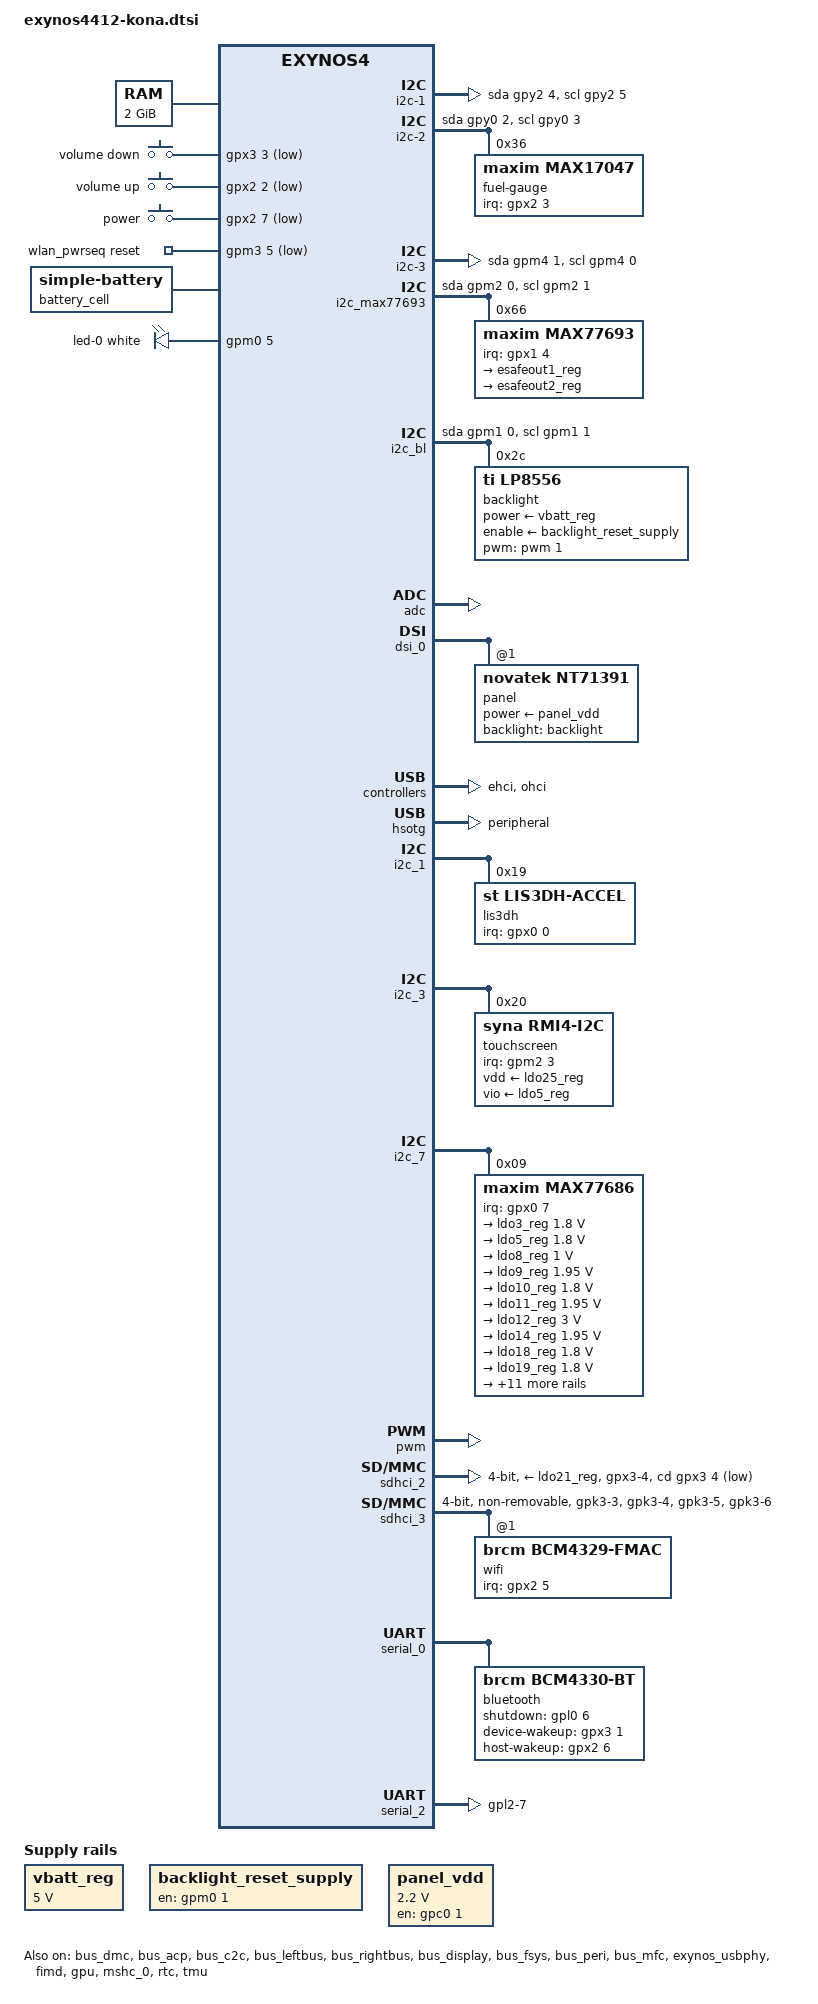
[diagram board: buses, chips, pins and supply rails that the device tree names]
// SPDX-License-Identifier: GPL-2.0
/*
 * Samsung's Exynos4412 based kona device family base DT.
 * Based on exynos4412-midas.dtsi.
 *
 * Copyright (c) 2013 Samsung Electronics Co., Ltd.
 *		http://www.samsung.com
 */

/dts-v1/;
#include "exynos4412.dtsi"
#include "exynos4412-ppmu-common.dtsi"
#include "exynos-pinctrl.h"
#include <dt-bindings/clock/maxim,max77686.h>
#include <dt-bindings/gpio/gpio.h>
#include <dt-bindings/input/linux-event-codes.h>
#include <dt-bindings/interrupt-controller/irq.h>
#include <dt-bindings/leds/common.h>

/ {
	compatible = "samsung,kona", "samsung,exynos4412", "samsung,exynos4";

	memory@40000000 {
		device_type = "memory";
		reg = <0x40000000 0x80000000>;
	};

	aliases {
		mmc0 = &mshc_0;
		mmc2 = &sdhci_2;
		mmc3 = &sdhci_3;
	};

	chosen {
		stdout-path = &serial_2;
	};

	firmware@204f000 {
		compatible = "samsung,secure-firmware";
		reg = <0x0204f000 0x1000>;
	};

	fixed-rate-clocks {
		xxti {
			compatible = "samsung,clock-xxti";
			clock-frequency = <0>;
		};

		xusbxti {
			compatible = "samsung,clock-xusbxti";
			clock-frequency = <24000000>;
		};
	};

	buttons: gpio-keys {
		compatible = "gpio-keys";
		pinctrl-names = "default";
		pinctrl-0 = <&gpio_keys>;

		key-down {
			gpios = <&gpx3 3 GPIO_ACTIVE_LOW>;
			linux,code = <KEY_VOLUMEDOWN>;
			label = "volume down";
			debounce-interval = <10>;
		};

		key-up {
			gpios = <&gpx2 2 GPIO_ACTIVE_LOW>;
			linux,code = <KEY_VOLUMEUP>;
			label = "volume up";
			debounce-interval = <10>;
		};

		key-power {
			gpios = <&gpx2 7 GPIO_ACTIVE_LOW>;
			linux,code = <KEY_POWER>;
			label = "power";
			debounce-interval = <10>;
			wakeup-source;
		};
	};

	vbatt_reg: voltage-regulator-1 {
		compatible = "regulator-fixed";
		regulator-name = "VBATT";
		regulator-min-microvolt = <5000000>;
		regulator-max-microvolt = <5000000>;
		regulator-always-on;
	};

	backlight_reset_supply: voltage-regulator-2 {
		compatible = "regulator-fixed";
		regulator-name = "BACKLIGHT_ENVDDIO";
		pinctrl-names = "default";
		pinctrl-0 = <&led_bl_reset>;
		gpio = <&gpm0 1 GPIO_ACTIVE_HIGH>;
		enable-active-high;
	};
	
	panel_vdd: voltage-regulator-4 {
		compatible = "regulator-fixed";
		regulator-name = "LCD_ENABLE";
		regulator-min-microvolt = <2200000>;
		regulator-max-microvolt = <2200000>;
		pinctrl-names = "default";
		pinctrl-0 = <&lcd_enable>;
		gpios = <&gpc0 1 GPIO_ACTIVE_HIGH>; /* GPIO_LCD_EN */
		enable-active-high;
	};

	wlan_pwrseq: sdhci3-pwrseq {
		compatible = "mmc-pwrseq-simple";
		reset-gpios = <&gpm3 5 GPIO_ACTIVE_LOW>;
		pinctrl-0 = <&wifi_reset>;
		pinctrl-names = "default";
		clocks = <&max77686 MAX77686_CLK_PMIC>;
		clock-names = "ext_clock";
	};

	battery_cell: battery-cell {
		compatible = "simple-battery";
		device-chemistry = "lithium-ion";
		constant-charge-current-max-microamp = <1798200>;
		precharge-current-microamp = <250000>;
		charge-term-current-microamp = <250000>;
		constant-charge-voltage-max-microvolt = <4200000>;
	};

	i2c-1 {
		compatible = "i2c-gpio";
		sda-gpios = <&gpy2 4 (GPIO_ACTIVE_HIGH | GPIO_OPEN_DRAIN)>;
		scl-gpios = <&gpy2 5 (GPIO_ACTIVE_HIGH | GPIO_OPEN_DRAIN)>;
		i2c-gpio,delay-us = <2>;
		#address-cells = <1>;
		#size-cells = <0>;
	};

	i2c-2 {
		compatible = "i2c-gpio";
		sda-gpios = <&gpy0 2 (GPIO_ACTIVE_HIGH | GPIO_OPEN_DRAIN)>;
		scl-gpios = <&gpy0 3 (GPIO_ACTIVE_HIGH | GPIO_OPEN_DRAIN)>;
		i2c-gpio,delay-us = <2>;
		#address-cells = <1>;
		#size-cells = <0>;

		fuel-gauge@36 {
			compatible = "maxim,max17047";
			reg = <0x36>;
			pinctrl-0 = <&fuel_alert_irq>;
			pinctrl-names = "default";
			interrupt-parent = <&gpx2>;
			interrupts = <3 IRQ_TYPE_LEVEL_LOW>;
			maxim,rsns-microohm = <10000>;
			maxim,over-heat-temp = <600>;
			maxim,over-volt = <4300>;
			power-supplies = <&max77693_charger>;
		};
	};

	i2c-3 {
		compatible = "i2c-gpio";
		sda-gpios = <&gpm4 1 (GPIO_ACTIVE_HIGH | GPIO_OPEN_DRAIN)>;
		scl-gpios = <&gpm4 0 (GPIO_ACTIVE_HIGH | GPIO_OPEN_DRAIN)>;
		i2c-gpio,delay-us = <5>;
		#address-cells = <1>;
		#size-cells = <0>;
	};

	i2c_max77693: i2c-4 {
		compatible = "i2c-gpio";
		sda-gpios = <&gpm2 0 (GPIO_ACTIVE_HIGH | GPIO_OPEN_DRAIN)>;
		scl-gpios = <&gpm2 1 (GPIO_ACTIVE_HIGH | GPIO_OPEN_DRAIN)>;

		i2c-gpio,delay-us = <2>;
		#address-cells = <1>;
		#size-cells = <0>;

		max77693: mfd@66 {
			compatible = "maxim,max77693";
			reg = <0x66>;
			interrupt-parent = <&gpx1>;
			interrupts = <4 IRQ_TYPE_LEVEL_LOW>;
			pinctrl-names = "default";
			pinctrl-0 = <&max77693_irq>;

			muic {
				compatible = "maxim,max77693-muic";

				usb_conn: connector {
					compatible = "samsung,usb-connector-11pin",
						     "usb-b-connector";
					label = "micro-USB";
					type = "micro";

					ports {
						#address-cells = <1>;
						#size-cells = <0>;

						port@0 {
							reg = <0>;
						};

						port@3 {
							reg = <3>;
						};
					};
				};
			};

			regulators {
				esafeout1_reg: ESAFEOUT1 {
					regulator-name = "ESAFEOUT1";
				};

				esafeout2_reg: ESAFEOUT2 {
					regulator-name = "ESAFEOUT2";
				};
			};

			motor-driver {
				compatible = "maxim,max77693-haptic";
				haptic-supply = <&ldo23_reg>;
				pwms = <&pwm 0 37904 0>;
			};

			max77693_charger: charger {
				compatible = "maxim,max77693-charger";
				monitored-battery = <&battery_cell>;

				maxim,constant-microvolt = <4350000>;
				maxim,min-system-microvolt = <3600000>;
				maxim,thermal-regulation-celsius = <70>;
				maxim,battery-overcurrent-microamp = <3500000>;
				maxim,charge-input-threshold-microvolt = <4300000>;

				maxim,usb-connector = <&usb_conn>;
			};
			
			led {
                		compatible = "maxim,max77693-led";
                		status = "disabled";
                	};
		};
	};

	i2c_bl: i2c-24 {
		compatible = "i2c-gpio";
		sda-gpios = <&gpm1 0 (GPIO_ACTIVE_HIGH | GPIO_OPEN_DRAIN)>;
		scl-gpios = <&gpm1 1 (GPIO_ACTIVE_HIGH | GPIO_OPEN_DRAIN)>;
		#address-cells = <1>;
		#size-cells = <0>;
		status = "okay";

		backlight: backlight@2c {
			compatible = "ti,lp8556";
			reg = <0x2c>;
			status = "okay";

			bl-name = "lcd-bl";
			init-brt = /bits/ 8 <0x78>; /* 120 */

			power-supply = <&vbatt_reg>;
			enable-supply = <&backlight_reset_supply>;

			pwms = <&pwm 1 78770 0>;
			pwm-names = "lp8556";
			pwm-period = <78770>;

			dev-ctrl = /bits/ 8 <0x81>;

			rom-a5h {
				rom-addr = /bits/ 8 <0xa5>;
				rom-val = /bits/ 8 <0x24>;
			};

		};
	};

	led-controller {
		compatible = "gpio-leds";
		led-0 {
			gpios = <&gpm0 5 GPIO_ACTIVE_HIGH>;
			default-state = "off";
			function = LED_FUNCTION_KBD_BACKLIGHT;
			color = <LED_COLOR_ID_WHITE>;
		};
	};
};

&adc {
	vdd-supply = <&ldo3_reg>;
	/* not verified */
	status = "okay";
};

&bus_dmc {
	devfreq-events = <&ppmu_dmc0_3>, <&ppmu_dmc1_3>;
	vdd-supply = <&buck1_reg>;
	status = "okay";
};

&bus_acp {
	devfreq = <&bus_dmc>;
	status = "okay";
};

&bus_c2c {
	devfreq = <&bus_dmc>;
	status = "okay";
};

&bus_leftbus {
	devfreq-events = <&ppmu_leftbus_3>, <&ppmu_rightbus_3>;
	vdd-supply = <&buck3_reg>;
	status = "okay";
};

&bus_rightbus {
	devfreq = <&bus_leftbus>;
	status = "okay";
};

&bus_display {
	devfreq = <&bus_leftbus>;
	status = "okay";
};

&bus_fsys {
	devfreq = <&bus_leftbus>;
	status = "okay";
};

&bus_peri {
	devfreq = <&bus_leftbus>;
	status = "okay";
};

&bus_mfc {
	devfreq = <&bus_leftbus>;
	status = "okay";
};

&cpu0 {
	cpu0-supply = <&buck2_reg>;
};

&cpu_thermal {
	cooling-maps {
		map0 {
			/* Corresponds to 800MHz at freq_table */
			cooling-device = <&cpu0 7 7>, <&cpu1 7 7>,
					 <&cpu2 7 7>, <&cpu3 7 7>;
		};
		map1 {
			/* Corresponds to 200MHz at freq_table */
			cooling-device = <&cpu0 13 13>, <&cpu1 13 13>,
					 <&cpu2 13 13>, <&cpu3 13 13>;
		};
	};
};

&dsi_0 {
	vddcore-supply = <&ldo8_reg>;
	vddio-supply = <&ldo10_reg>;
	samsung,burst-clock-frequency = <460000000>;
	samsung,esc-clock-frequency = <20000000>;
	samsung,pll-clock-frequency = <24000000>;
	status = "okay";

	panel@1 {
		compatible = "novatek,nt71391";
		reg = <1>;
		power-supply = <&panel_vdd>;
		backlight = <&backlight>;
	};
};

&ehci {
	status = "okay";
};

&exynos_usbphy {
	vbus-supply = <&esafeout1_reg>;
	samsung,usb-connector = <&usb_conn>;
	status = "okay";
};

&fimd {
	status = "okay";
};

&gpu {
	mali-supply = <&buck4_reg>;
	status = "okay";
};

&hsotg {
	vusb_a-supply = <&ldo12_reg>;
	dr_mode = "peripheral";
	status = "okay";
};

&i2c_1 {
	samsung,i2c-sda-delay = <100>;
	samsung,i2c-slave-addr = <0x10>;
	samsung,i2c-max-bus-freq = <400000>;
	status = "okay";

	lis3dh: accelerometer@19 {
		compatible = "st,lis3dh-accel";
		reg = <0x19>;
		interrupt-parent = <&gpx0>;
		interrupts = <0 IRQ_TYPE_EDGE_RISING>;
		pinctrl-0 = <&accelerometer_irq>;
		pinctrl-names = "default";
		mount-matrix =	"-1", "0",  "0",
				 "0", "1",  "0",
				 "0", "0", "-1";
	};
};

&i2c_3 {
	samsung,i2c-sda-delay = <100>;
	samsung,i2c-slave-addr = <0x10>;
	samsung,i2c-max-bus-freq = <400000>;
	status = "okay";

	touchscreen@20 {
		compatible = "syna,rmi4-i2c"; //S7301
		reg = <0x20>;
		#address-cells = < 1 >;
		#size-cells = < 0 >;
		
		pinctrl-0 = <&tsp_rst &tsp_irq>;
		pinctrl-names = "default";
		interrupt-parent = <&gpm2>; // tsp_irq
		interrupts = <3 IRQ_TYPE_EDGE_FALLING>;
		
		vdd-supply = <&ldo25_reg>;
		vio-supply = <&ldo5_reg>;

		syna,startup-delay-ms = <100>;

		rmi4-f01@1 {
			reg = <0x1>;
			syna,nosleep-mode = <1>;
		};

		rmi4-f11@11 {
			reg = <0x11>;
			syna,sensor-type = <1>;
			touchscreen-swapped-x-y;
			touchscreen-inverted-x;
		};

		rmi4-f1a@1a {
			reg = <0x1a>;
			
			key-back {
				label = "Back";
				linux,code = <KEY_BACK>;
			};
			key-menu {
				label = "Menu";
				linux,code = <KEY_MENU>;
			};

		};
	};
};

&i2c_7 {
	samsung,i2c-sda-delay = <100>;
	samsung,i2c-slave-addr = <0x10>;
	samsung,i2c-max-bus-freq = <400000>;
	status = "okay";

	max77686: pmic@9 {
		compatible = "maxim,max77686";
		interrupt-parent = <&gpx0>;
		interrupts = <7 IRQ_TYPE_LEVEL_LOW>;
		pinctrl-0 = <&max77686_irq>;
		pinctrl-names = "default";
		wakeup-source;
		reg = <0x09>;
		#clock-cells = <1>;

		voltage-regulators {
			/* WM8994 audio */
			ldo3_reg: LDO3 {
				regulator-name = "VCC_1.8V_AP";
				regulator-min-microvolt = <1800000>;
				regulator-max-microvolt = <1800000>;
				regulator-always-on;
				regulator-boot-on;

				regulator-state-mem {
					regulator-on-in-suspend;
				};
			};

			/* Touchkey */
			ldo5_reg: LDO5 {
				regulator-name = "VCC_1.8V_IO";
				regulator-min-microvolt = <1800000>;
				regulator-max-microvolt = <1800000>;

				regulator-state-mem {
					regulator-off-in-suspend;
				};
			};

			/* CSI IP block */
			ldo8_reg: LDO8 {
				regulator-name = "VMIPI_1.0V";
				regulator-min-microvolt = <1000000>;
				regulator-max-microvolt = <1000000>;
				regulator-always-on;
				regulator-boot-on;

				regulator-state-mem {
					regulator-on-in-suspend;
				};
			};

			/* IR LED on/off */
			ldo9_reg: LDO9 {
				regulator-name = "VLED_IC_1.9V";
				regulator-min-microvolt = <1950000>;
				regulator-max-microvolt = <1950000>;
				regulator-always-on;
				regulator-boot-on;

				regulator-state-mem {
					regulator-off-in-suspend;
				};
			};

			/* CSI IP block */
			ldo10_reg: LDO10 {
				regulator-name = "VMIPI_1.8V";
				regulator-min-microvolt = <1800000>;
				regulator-max-microvolt = <1800000>;
				regulator-always-on;
				regulator-boot-on;

				regulator-state-mem {
					regulator-on-in-suspend;
				};
			};

			ldo11_reg: LDO11 {
				regulator-name = "VABB1_1.9V";
				regulator-min-microvolt = <1950000>;
				regulator-max-microvolt = <1950000>;
				regulator-always-on;
				regulator-boot-on;

				regulator-state-mem {
					regulator-off-in-suspend;
				};
			};

			/* USB OTG */
			ldo12_reg: LDO12 {
				regulator-name = "VUOTG_3.0V";
				regulator-min-microvolt = <3000000>;
				regulator-max-microvolt = <3000000>;
				regulator-always-on;
				regulator-boot-on;

				regulator-state-mem {
					regulator-on-in-suspend;
				};
			};

			ldo14_reg: LDO14 {
				regulator-name = "VABB2_1.9V";
				regulator-min-microvolt = <1950000>;
				regulator-max-microvolt = <1950000>;
				regulator-always-on;
				regulator-boot-on;

				regulator-state-mem {
					regulator-off-in-suspend;
				};
			};

			ldo18_reg: LDO18 {
				regulator-name = "CAM_IO_1.8V";
				regulator-min-microvolt = <1800000>;
				regulator-max-microvolt = <1800000>;

				regulator-state-mem {
					regulator-off-in-suspend;
				};
			};

			ldo19_reg: LDO19 {
				regulator-name = "VT_CORE_1.8V";
				regulator-min-microvolt = <1800000>;
				regulator-max-microvolt = <1800000>;

				regulator-state-mem {
					regulator-off-in-suspend;
				};
			};

			ldo21_reg: LDO21 {
				regulator-name = "VTF_2.8V";
				regulator-min-microvolt = <2800000>;
				regulator-max-microvolt = <2800000>;
				maxim,ena-gpios = <&gpy2 0 GPIO_ACTIVE_HIGH>;
			};

			ldo23_reg: LDO23 {
				regulator-name = "VCC_MOTOR_3.0V";
				regulator-min-microvolt = <3000000>;
				regulator-max-microvolt = <3000000>;

				regulator-state-mem {
					regulator-off-in-suspend;
				};
			};

			ldo24_reg: LDO24 {
				regulator-name = "CAM_A2.8V";
				regulator-min-microvolt = <2800000>;
				regulator-max-microvolt = <2800000>;

				regulator-state-mem {
					regulator-off-in-suspend;
				};
			};

			ldo25_reg: LDO25 {
				regulator-name = "TSP_3.3V";
				regulator-min-microvolt = <3300000>;
				regulator-max-microvolt = <3300000>;

				regulator-state-mem {
					regulator-off-in-suspend;
				};
			};

			ldo26_reg: LDO26 {
				regulator-name = "3MP_AF_2.8V";
				regulator-min-microvolt = <2800000>;
				regulator-max-microvolt = <2800000>;

				regulator-state-mem {
					regulator-off-in-suspend;
				};
			};

			buck1_reg: BUCK1 {
				regulator-name = "VDD_MIF";
				regulator-min-microvolt = <850000>;
				regulator-max-microvolt = <1200000>;
				regulator-always-on;
				regulator-boot-on;
			};

			buck2_reg: BUCK2 {
				regulator-name = "VDD_ARM";
				regulator-min-microvolt = <850000>;
				regulator-max-microvolt = <1500000>;
				regulator-always-on;
				regulator-boot-on;
			};

			buck3_reg: BUCK3 {
				regulator-name = "VDD_INT";
				regulator-min-microvolt = <850000>;
				regulator-max-microvolt = <1300000>;
				regulator-always-on;
				regulator-boot-on;
			};

			buck4_reg: BUCK4 {
				regulator-name = "VDD_G3D";
				regulator-min-microvolt = <850000>;
				regulator-max-microvolt = <1200000>;
				regulator-boot-on;
			};

			buck9_reg: BUCK9 { 
				regulator-name = "3MP_CORE_1.2V";
				regulator-min-microvolt = <1200000>;
				regulator-max-microvolt = <1400000>;

				regulator-state-mem {
					regulator-off-in-suspend;
				};
			};

			32KHZ_PMIC {
				regulator-name = "32KHZ_PMIC";
				regulator-always-on;

				regulator-state-mem {
					regulator-on-in-suspend;
				};
			};
		};
	};
};

&mshc_0 {
	broken-cd;
	non-removable;
	card-detect-delay = <200>;
	clock-frequency = <400000000>;
	samsung,dw-mshc-ciu-div = <0>;
	samsung,dw-mshc-sdr-timing = <2 3>;
	samsung,dw-mshc-ddr-timing = <1 2>;
	mmc-ddr-1_8v;
	pinctrl-0 = <&sd4_clk &sd4_cmd &sd4_bus4 &sd4_bus8>;
	pinctrl-names = "default";
	bus-width = <4>;
	cap-mmc-highspeed;
	cap-sd-highspeed;
	status = "okay";
};

&ohci {
	status = "okay";
};

&pinctrl_0 {
	pinctrl-names = "default";
	pinctrl-0 = <&sleep0>;

	// lcd_freq are not configured in board config
	lcd_freq_scl: lcd-scl-pins {
		samsung,pins = "gpf0-4";
		samsung,pin-pud = <EXYNOS_PIN_PULL_DOWN>;
	};
	lcd_freq_sda: lcd-sda-pins {
		samsung,pins = "gpf0-5";
		samsung,pin-pud = <EXYNOS_PIN_PULL_DOWN>;
	};
	lcd_enable: lcd-enable-pins {
		samsung,pins = "gpc0-1";
		samsung,pin-function = <EXYNOS_PIN_FUNC_OUTPUT>;
		samsung,pin-pud = <EXYNOS_PIN_PULL_NONE>;
	};

	sleep0: sleep-state {
		PIN_SLP(gpa0-0, INPUT, NONE); /* BT_UART_RXD */
		PIN_SLP(gpa0-1, OUT0, NONE); /* BT_UART_TXD */
		PIN_SLP(gpa0-2, INPUT, NONE); /* BT_UART_CTS */
		PIN_SLP(gpa0-3, INPUT, UP); /* BT_UART_RTS */
		PIN_SLP(gpa0-4, INPUT, UP); /* GPS_UART_RXD */
		PIN_SLP(gpa0-5, INPUT, UP); /* GPS_UART_TXD */
		PIN_SLP(gpa0-6, INPUT, DOWN); /* GPS_UART_CTS */
		PIN_SLP(gpa0-7, INPUT, DOWN); /* GPS_UART_RTS */

		PIN_SLP(gpa1-0, INPUT, DOWN); /* 3G : AP_RXD LTE : NC */
		PIN_SLP(gpa1-1, INPUT, DOWN); /* 3G : AP_TXD LTE : NC */
		PIN_SLP(gpa1-2, INPUT, DOWN); /* TSP_SDA_1.8V */
		PIN_SLP(gpa1-3, INPUT, DOWN); /* TSP_SCL_1.8V */
		PIN_SLP(gpa1-4, INPUT, DOWN); /* NC */
		PIN_SLP(gpa1-5, INPUT, DOWN); /* NC */

		PIN_SLP(gpb-0, INPUT, NONE);
		PIN_SLP(gpb-1, INPUT, NONE);
		PIN_SLP(gpb-2, INPUT, NONE);
		PIN_SLP(gpb-3, INPUT, NONE);
		PIN_SLP(gpb-4, INPUT, DOWN); /* NC */
		PIN_SLP(gpb-5, INPUT, DOWN); /* NC */
		PIN_SLP(gpb-6, INPUT, DOWN); /* NC */
		PIN_SLP(gpb-7, INPUT, DOWN); /* NC */

		PIN_SLP(gpc0-0, INPUT, DOWN); /* REC_PCM_CLK-NC */
		PIN_SLP(gpc0-1, INPUT, DOWN); /* LCD_EN */
		PIN_SLP(gpc0-2, INPUT, DOWN); /* REC_PCM_SYNC-NC */
		PIN_SLP(gpc0-3, INPUT, DOWN); /* REC_PCM_IN-NC */
		PIN_SLP(gpc0-4, INPUT, DOWN); /* REC_PCM_OUT-NC */

		PIN_SLP(gpc1-0, INPUT, UP); /* PEN_PDCT */
		PIN_SLP(gpc1-1, PREV, NONE); /* PEN_LDO_EN */
		PIN_SLP(gpc1-2, INPUT, UP); /* PEN_IRQ_1.8V */
		PIN_SLP(gpc1-3, INPUT, UP); /* PEN_SDA_1.8V */
		PIN_SLP(gpc1-4, INPUT, UP); /* PEN_SCL_1.8V */

		PIN_SLP(gpd0-0, INPUT, DOWN); /* NC */
		PIN_SLP(gpd0-1, OUT0, NONE); /* LED_BACKLIGHT_PWM */
		PIN_SLP(gpd0-2, INPUT, NONE);
		PIN_SLP(gpd0-3, INPUT, NONE);

		PIN_SLP(gpd1-0, INPUT, DOWN); /* 3M_SDA_1.8V */
		PIN_SLP(gpd1-1, INPUT, DOWN); /* 3M_SCL_1.8V */
		PIN_SLP(gpd1-2, INPUT, NONE);
		PIN_SLP(gpd1-3, INPUT, NONE);

		PIN_SLP(gpf0-0, INPUT, DOWN); /* LCD_HSYNC */
		PIN_SLP(gpf0-1, INPUT, DOWN); /* LCD_VSYNC */
		PIN_SLP(gpf0-2, INPUT, DOWN); /* LCD_DE */
		PIN_SLP(gpf0-3, INPUT, DOWN); /* LCD_PCLK */
		PIN_SLP(gpf0-4, INPUT, DOWN); /* LCD_FREQ_SCL */
		PIN_SLP(gpf0-5, INPUT, DOWN); /* LCD_FREQ_SDA */
		PIN_SLP(gpf0-6, INPUT, DOWN); /* NC */
		PIN_SLP(gpf0-7, INPUT, DOWN); /* NC */

		PIN_SLP(gpf1-0, INPUT, DOWN); /* NC */
		PIN_SLP(gpf1-1, INPUT, DOWN); /* NC */
		PIN_SLP(gpf1-2, INPUT, DOWN); /* NC */
		PIN_SLP(gpf1-3, INPUT, DOWN); /* NC */
		PIN_SLP(gpf1-4, INPUT, DOWN); /* NC */
		PIN_SLP(gpf1-5, INPUT, DOWN); /* NC */
		PIN_SLP(gpf1-6, INPUT, NONE); /* TSP_VENDOR1 */
		PIN_SLP(gpf1-7, INPUT, NONE); /* TSP_VENDOR2 */

		PIN_SLP(gpf2-0, INPUT, DOWN); /* NC */
		PIN_SLP(gpf2-1, OUT0, NONE); /* VT_CAM_nSTBY */
		PIN_SLP(gpf2-2, INPUT, DOWN); /* NC */
		PIN_SLP(gpf2-3, INPUT, DOWN); /* NC */
		PIN_SLP(gpf2-4, INPUT, DOWN); /* NC */
		PIN_SLP(gpf2-5, INPUT, DOWN); /* NC */
		PIN_SLP(gpf2-6, INPUT, DOWN); /* NC */
		PIN_SLP(gpf2-7, INPUT, DOWN); /* NC */

		PIN_SLP(gpf3-0, INPUT, DOWN); /* NC */
		PIN_SLP(gpf3-1, INPUT, DOWN); /* NC */
		PIN_SLP(gpf3-2, PREV, NONE); /* BUCK3_SEL */
		PIN_SLP(gpf3-3, PREV, NONE); /* BUCK4_SEL */
		PIN_SLP(gpf3-4, OUT0, NONE); /* MHL_RST */
		PIN_SLP(gpf3-5, OUT0, NONE); /* MHL_INT */

		PIN_SLP(gpj0-0, INPUT, DOWN); /* CAM_PCLK */
		PIN_SLP(gpj0-1, INPUT, DOWN); /* NC */
		PIN_SLP(gpj0-2, INPUT, DOWN); /* NC */
		PIN_SLP(gpj0-3, PREV, NONE); /* SUB_MICBIAS_EN */
		PIN_SLP(gpj0-4, PREV, NONE); /* EAR_SND_SEL */
		PIN_SLP(gpj0-5, OUT0, NONE); /* CAM_EN2 */
		PIN_SLP(gpj0-6, OUT0, NONE); /* CAM_EN1 */
		PIN_SLP(gpj0-7, OUT0, NONE); /* 5M_nSTBY */

		PIN_SLP(gpj1-0, OUT0, NONE); /* VT_CAM_nRST */
		PIN_SLP(gpj1-1, PREV, NONE); /* PS_ALS_EN */
		PIN_SLP(gpj1-2, PREV, NONE); /* VPS_SOUND_EN */
		PIN_SLP(gpj1-3, INPUT, DOWN); /* CAM_MCLK */
		PIN_SLP(gpj1-4, INPUT, DOWN); /* MLH_WAKE_UP */

	};
};

&pinctrl_1 {
	pinctrl-names = "default";
	pinctrl-0 = <&sleep1>;

	sd3_wifi: sd3-wifi-pins {
		samsung,pins = "gpk3-3", "gpk3-4", "gpk3-5", "gpk3-6";
		samsung,pin-function = <EXYNOS_PIN_FUNC_2>;
		samsung,pin-pud = <EXYNOS_PIN_PULL_NONE>;
	};

	bt_shutdown: bt-shutdown-pins {
		samsung,pins = "gpl0-6";
		samsung,pin-function = <EXYNOS_PIN_FUNC_OUTPUT>;
		samsung,pin-pud = <EXYNOS_PIN_PULL_NONE>;
	};

	uart_sel: uart-sel-pins {
		samsung,pins = "gpl2-7";
		samsung,pin-function = <EXYNOS_PIN_FUNC_OUTPUT>;
		samsung,pin-pud = <EXYNOS_PIN_PULL_NONE>;
		samsung,pin-val = <1>;
		/* 0 = CP, 1 = AP (serial output) */
	};

	led_bl_reset: led-bl-reset-pins {
		samsung,pins = "gpm0-1";
		samsung,pin-function = <EXYNOS_PIN_FUNC_OUTPUT>;
		samsung,pin-pud = <EXYNOS_PIN_PULL_NONE>;
	};

	tsp_rst: tsp-rst-pins {
		samsung,pins = "gpm0-4";
		samsung,pin-function = <EXYNOS_PIN_FUNC_OUTPUT>;
		samsung,pin-pud = <EXYNOS_PIN_PULL_NONE>;
	};


	tsp_irq: tsp-irq-pins { // TSP_INT
		samsung,pins = "gpm2-3";
		samsung,pin-function = <EXYNOS_PIN_FUNC_F>;
		samsung,pin-pud = <EXYNOS_PIN_PULL_NONE>;
	};

	wifi_reset: wifi-reset-pins {
		samsung,pins = "gpm3-5";
		samsung,pin-function = <EXYNOS_PIN_FUNC_OUTPUT>;
		samsung,pin-pud = <EXYNOS_PIN_PULL_NONE>;
	};

	tsp_reg_gpio_1: tsp-reg-gpio-1-pins { // TSP_LDO_ON
		samsung,pins = "gpm4-5";
		samsung,pin-function = <EXYNOS_PIN_FUNC_OUTPUT>;
		samsung,pin-pud = <EXYNOS_PIN_PULL_NONE>;
	};

	accelerometer_irq: accelerometer-irq-pins {
		samsung,pins = "gpx0-0";
		samsung,pin-function = <EXYNOS_PIN_FUNC_INPUT>;
		samsung,pin-pud = <EXYNOS_PIN_PULL_DOWN>;
	};

	stmpe_adc_irq: stmpe-adc-irq-pins {
		samsung,pins = "gpx0-1";
		samsung,pin-function = <EXYNOS_PIN_FUNC_INPUT>;
		samsung,pin-pud = <EXYNOS_PIN_PULL_NONE>;
	};

	max77686_irq: max77686-irq-pins {
		samsung,pins = "gpx0-7";
		samsung,pin-pud = <EXYNOS_PIN_PULL_NONE>;
	};

	max77693_irq: max77693-irq-pins {
		samsung,pins = "gpx1-4";
		samsung,pin-pud = <EXYNOS_PIN_PULL_NONE>;
	};

	gpio_keys: gpio-keys-pins {
		samsung,pins = "gpx2-2", "gpx2-7", "gpx3-3";
		samsung,pin-pud = <EXYNOS_PIN_PULL_NONE>;
	};

	fuel_alert_irq: fuel-alert-irq-pins {
		samsung,pins = "gpx2-3";
		samsung,pin-function = <EXYNOS_PIN_FUNC_INPUT>;
		samsung,pin-pud = <EXYNOS_PIN_PULL_NONE>;
	};

	wifi_host_wake: wifi-host-wake-pins {
		samsung,pins = "gpx2-5";
		samsung,pin-function = <EXYNOS_PIN_FUNC_F>;
		samsung,pin-pud = <EXYNOS_PIN_PULL_DOWN>;
	};

	bt_host_wakeup: bt-host-wakeup-pins {
		samsung,pins = "gpx2-6";
		samsung,pin-function = <EXYNOS_PIN_FUNC_INPUT>;
		samsung,pin-pud = <EXYNOS_PIN_PULL_NONE>;
	};

	bt_device_wakeup: bt-device-wakeup-pins {
		samsung,pins = "gpx3-1";
		samsung,pin-function = <EXYNOS_PIN_FUNC_OUTPUT>;
		samsung,pin-pud = <EXYNOS_PIN_PULL_NONE>;
	};

	sdhci2_cd: sdhci2-cd-pins {
		samsung,pins = "gpx3-4";
		samsung,pin-pud = <EXYNOS_PIN_PULL_NONE>;
	};

	sleep1: sleep-state {
		PIN_SLP(gpk0-0, PREV, NONE); /* NAND_CLK */
		PIN_SLP(gpk0-1, PREV, NONE); /* NAND_CMD */
		PIN_SLP(gpk0-2, PREV, NONE); /* eMMC_EN */
		PIN_SLP(gpk0-3, PREV, NONE); /* NAND_D-0 */
		PIN_SLP(gpk0-4, PREV, NONE); /* NAND_D-1 */
		PIN_SLP(gpk0-5, PREV, NONE); /* NAND_D-2 */
		PIN_SLP(gpk0-6, PREV, NONE); /* NAND_D-3 */

		PIN_SLP(gpk1-0, INPUT, DOWN);
		PIN_SLP(gpk1-1, INPUT, DOWN); /* NC */
		PIN_SLP(gpk1-2, INPUT, DOWN);
		PIN_SLP(gpk1-3, PREV, NONE); /* NAND_D-4 */
		PIN_SLP(gpk1-4, PREV, NONE); /* NAND_D-5 */
		PIN_SLP(gpk1-5, PREV, NONE); /* NAND_D-6 */
		PIN_SLP(gpk1-6, PREV, NONE); /* NAND_D-7 */

		PIN_SLP(gpk2-0, INPUT, DOWN);
		PIN_SLP(gpk2-1, INPUT, DOWN);
		PIN_SLP(gpk2-2, INPUT, DOWN); /* NC */
		PIN_SLP(gpk2-3, INPUT, DOWN);
		PIN_SLP(gpk2-4, INPUT, DOWN);
		PIN_SLP(gpk2-5, INPUT, DOWN);
		PIN_SLP(gpk2-6, INPUT, DOWN);

		PIN_SLP(gpk3-0, OUT0, NONE);
		PIN_SLP(gpk3-1, INPUT, NONE);
		PIN_SLP(gpk3-2, INPUT, DOWN); /* NC */
		PIN_SLP(gpk3-3, INPUT, NONE);
		PIN_SLP(gpk3-4, INPUT, NONE);
		PIN_SLP(gpk3-5, INPUT, NONE);
		PIN_SLP(gpk3-6, INPUT, NONE);

		PIN_SLP(gpl0-0, OUT0, NONE); /* ACTIVE_STATE_HSIC */
		PIN_SLP(gpl0-1, INPUT, NONE); /* PS_ALS_SCL_1.8V */
		PIN_SLP(gpl0-2, INPUT, NONE); /* PS_ALS_SDA_1.8V */
		PIN_SLP(gpl0-3, INPUT, DOWN); /* NC-IRDA_CONTROL */
		PIN_SLP(gpl0-4, PREV, NONE); /* HDMI_EN */
		PIN_SLP(gpl0-6, PREV, NONE); /* BT_EN */

		PIN_SLP(gpl1-0, OUT0, NONE); /* PDA_ACTIVE */
		PIN_SLP(gpl1-1, OUT0, NONE); /* 5M_nRST */

		PIN_SLP(gpl2-0, INPUT, DOWN); /* NC */
		PIN_SLP(gpl2-1, PREV, NONE); /* IRDA_EN */
		PIN_SLP(gpl2-2, PREV, NONE); /* GPS_EN */
		PIN_SLP(gpl2-3, INPUT, DOWN); /* NC */
		PIN_SLP(gpl2-4, INPUT, DOWN); /* MOTOR_EN -> NC */
		PIN_SLP(gpl2-5, PREV, NONE); /* AP2MDM_PON_RESET_N , CP_ON*/
		PIN_SLP(gpl2-6, INPUT, DOWN); /*ACCESSORY_EN -> NC */
		PIN_SLP(gpl2-7, INPUT, DOWN); /* UART_SEL -> NC */

		PIN_SLP(gpm0-0, PREV, NONE); /* MICBIAS_EN */
		PIN_SLP(gpm0-1, OUT0, NONE); /* LED_BACKLIGHT_RESET */
		PIN_SLP(gpm0-2, INPUT, DOWN); /* NC */
		PIN_SLP(gpm0-3, INPUT, DOWN); /* NC */
		PIN_SLP(gpm0-4, INPUT, DOWN); /* NC */
		PIN_SLP(gpm0-5, PREV, NONE); /* 2TOUCH_EN */
		PIN_SLP(gpm0-6, INPUT, NONE); /* IRDA_IRQ */
		PIN_SLP(gpm0-7, INPUT, DOWN); /* NC */

		PIN_SLP(gpm1-0, INPUT, NONE); /* MOTOR_I2C_SDA */
		PIN_SLP(gpm1-1, INPUT, NONE); /* MOTOR_I2C_SCL */
		PIN_SLP(gpm1-2, INPUT, NONE); /* HW_REV0 */
		PIN_SLP(gpm1-3, INPUT, NONE); /* HW_REV1 */
		PIN_SLP(gpm1-4, INPUT, NONE); /* HW_REV2 */
		PIN_SLP(gpm1-5, INPUT, NONE); /* HW_REV3 */
		PIN_SLP(gpm1-6, INPUT, DOWN); /* NC */

		PIN_SLP(gpm2-0, INPUT, NONE); /* IF_PMIC_SDA */
		PIN_SLP(gpm2-1, INPUT, NONE); /* IF_PMIC_SCL */
		PIN_SLP(gpm2-2, INPUT, DOWN); /* VT_CAM_MCLK */
		PIN_SLP(gpm2-3, INPUT, NONE); /* TSP_INT */
		PIN_SLP(gpm2-4, INPUT, DOWN); /*  SUSPEND_REQUEST_HSIC for 3G, AP2MDM_WAKEUP for LTE, NC */

		PIN_SLP(gpm3-0, PREV, NONE); /* PMIC_DVS1 */
		PIN_SLP(gpm3-1, PREV, NONE); /* PMIC_DVS2 */
		PIN_SLP(gpm3-2, PREV, NONE); /* PMIC_DVS3 */
		PIN_SLP(gpm3-3, OUT1, NONE); /* RESET_REQ_N */
		PIN_SLP(gpm3-4, OUT0, DOWN); /* AP_DUMP_INT */
		PIN_SLP(gpm3-5, PREV, NONE); /* WLAN_EN */
		PIN_SLP(gpm3-6, INPUT, NONE); /* CP_DUMP_INT */
		PIN_SLP(gpm3-7, INPUT, DOWN); /* NC */

		PIN_SLP(gpm4-0, INPUT, DOWN); /* ADC_I2C_SCL_1.8V -> NC */
		PIN_SLP(gpm4-1, INPUT, DOWN); /* ADC_I2C_SDA_1.8V -> NC */
		PIN_SLP(gpm4-2, INPUT, DOWN); /* NC */
		PIN_SLP(gpm4-3, INPUT, DOWN); /* NC */
		PIN_SLP(gpm4-4, PREV, NONE); /* CODEC_LDO_EN */
		PIN_SLP(gpm4-5, INPUT, DOWN); /* NC */
		PIN_SLP(gpm4-6, INPUT, DOWN); /* NC-USB_OTG_EN */
		PIN_SLP(gpm4-7, INPUT, DOWN); /* NC */

		PIN_SLP(gpy0-0, INPUT, DOWN); /* IRDA_SDA */
		PIN_SLP(gpy0-1, INPUT, DOWN); /* IRDA_SCL */
		PIN_SLP(gpy0-2, INPUT, NONE); /* FUEL_SDA_1.8V */
		PIN_SLP(gpy0-3, INPUT, NONE); /* FUEL_SDA_1.8V */
		PIN_SLP(gpy0-4, INPUT, DOWN); /* NC */
		PIN_SLP(gpy0-5, INPUT, DOWN); /* NC */

		PIN_SLP(gpy1-0, INPUT, DOWN); /* NC */
		PIN_SLP(gpy1-1, INPUT, DOWN); /* NC */
		PIN_SLP(gpy1-2, INPUT, DOWN); /* NC */
		PIN_SLP(gpy1-3, INPUT, DOWN); /* PEN_FWE1_1.8V */

		PIN_SLP(gpy2-0, PREV, NONE); /* TF_EN */
		PIN_SLP(gpy2-1, INPUT, DOWN); /* NC */
		PIN_SLP(gpy2-2, INPUT, NONE); /* MHL_SDA_1.8V */
		PIN_SLP(gpy2-3, INPUT, NONE); /* MHL_SCL_1.8V */
		PIN_SLP(gpy2-4, INPUT, NONE); /* MSENSE_SDA_1.8V */
		PIN_SLP(gpy2-5, INPUT, NONE); /* MSENSE_SCL_1.8V */

		PIN_SLP(gpy3-0, INPUT, DOWN); /* NC */
		PIN_SLP(gpy3-1, INPUT, DOWN); /* NC */
		PIN_SLP(gpy3-2, INPUT, DOWN); /* NC */
		PIN_SLP(gpy3-3, INPUT, DOWN); /* NC */
		PIN_SLP(gpy3-4, INPUT, DOWN); /* NC */
		PIN_SLP(gpy3-5, INPUT, DOWN); /* NC */
		PIN_SLP(gpy3-6, INPUT, DOWN); /* NC */
		PIN_SLP(gpy3-7, INPUT, DOWN); /* NC */

		PIN_SLP(gpy4-0, INPUT, DOWN); /* NC */
		PIN_SLP(gpy4-1, INPUT, DOWN); /* NC */
		PIN_SLP(gpy4-2, INPUT, DOWN); /* NC */
		PIN_SLP(gpy4-3, INPUT, DOWN); /* NC */
		PIN_SLP(gpy4-4, INPUT, DOWN); /* NC */
		PIN_SLP(gpy4-5, INPUT, DOWN); /* NC */
		PIN_SLP(gpy4-6, INPUT, DOWN); /* NC */
		PIN_SLP(gpy4-7, INPUT, DOWN); /* NC */

		PIN_SLP(gpy5-0, INPUT, DOWN); /* NC */
		PIN_SLP(gpy5-1, INPUT, DOWN); /* NC */
		PIN_SLP(gpy5-2, INPUT, DOWN); /* NC */
		PIN_SLP(gpy5-3, INPUT, DOWN); /* NC */
		PIN_SLP(gpy5-4, INPUT, DOWN); /* NC */
		PIN_SLP(gpy5-5, INPUT, DOWN); /* NC */
		PIN_SLP(gpy5-6, INPUT, DOWN); /* NC */
		PIN_SLP(gpy5-7, INPUT, DOWN); /* NC */

		PIN_SLP(gpy6-0, INPUT, DOWN); /* NC */
		PIN_SLP(gpy6-1, INPUT, DOWN); /* NC */
		PIN_SLP(gpy6-2, INPUT, DOWN); /* NC */
		PIN_SLP(gpy6-3, INPUT, DOWN); /* NC */
		PIN_SLP(gpy6-4, INPUT, DOWN); /* NC */
		PIN_SLP(gpy6-5, INPUT, DOWN); /* NC */
		PIN_SLP(gpy6-6, INPUT, DOWN); /* NC */
		PIN_SLP(gpy6-7, INPUT, DOWN); /* NC */
	};
};

&pinctrl_2 {
	pinctrl-names = "default";
	pinctrl-0 = <&sleep2>;
	

	sleep2: sleep-state {
		PIN_SLP(gpz-0, INPUT, DOWN); /* MM_I2S_CLK */
		PIN_SLP(gpz-1, INPUT, DOWN); /* NC */
		PIN_SLP(gpz-2, INPUT, DOWN); /* MM_I2S_SYNC */
		PIN_SLP(gpz-3, INPUT, DOWN); /* MM_I2S_CLK */
		PIN_SLP(gpz-4, INPUT, DOWN); /* MM_I2S_CLK */
		PIN_SLP(gpz-5, INPUT, DOWN); /* NC */
		PIN_SLP(gpz-6, INPUT, DOWN); /* NC */	
	};
};

&pinctrl_3 {
	pinctrl-names = "default";
	pinctrl-0 = <&sleep3>;

	sleep3: sleep-state {
		PIN_SLP(gpv0-0, INPUT, DOWN);
		PIN_SLP(gpv0-1, INPUT, DOWN);
		PIN_SLP(gpv0-2, INPUT, DOWN);
		PIN_SLP(gpv0-3, INPUT, DOWN);
		PIN_SLP(gpv0-4, INPUT, DOWN);
		PIN_SLP(gpv0-5, INPUT, DOWN);
		PIN_SLP(gpv0-6, INPUT, DOWN);
		PIN_SLP(gpv0-7, INPUT, DOWN);

		PIN_SLP(gpv1-0, INPUT, DOWN);
		PIN_SLP(gpv1-1, INPUT, DOWN);
		PIN_SLP(gpv1-2, INPUT, DOWN);
		PIN_SLP(gpv1-3, INPUT, DOWN);
		PIN_SLP(gpv1-4, INPUT, DOWN);
		PIN_SLP(gpv1-5, INPUT, DOWN);
		PIN_SLP(gpv1-6, INPUT, DOWN);
		PIN_SLP(gpv1-7, INPUT, DOWN);

		PIN_SLP(gpv2-0, INPUT, DOWN);
		PIN_SLP(gpv2-1, INPUT, DOWN);
		PIN_SLP(gpv2-2, INPUT, DOWN);
		PIN_SLP(gpv2-3, INPUT, DOWN);
		PIN_SLP(gpv2-4, INPUT, DOWN);
		PIN_SLP(gpv2-5, INPUT, DOWN);
		PIN_SLP(gpv2-6, INPUT, DOWN);
		PIN_SLP(gpv2-7, INPUT, DOWN);

		PIN_SLP(gpv3-0, INPUT, DOWN);
		PIN_SLP(gpv3-1, INPUT, DOWN);
		PIN_SLP(gpv3-2, INPUT, DOWN);
		PIN_SLP(gpv3-3, INPUT, DOWN);
		PIN_SLP(gpv3-4, INPUT, DOWN);
		PIN_SLP(gpv3-5, INPUT, DOWN);
		PIN_SLP(gpv3-6, INPUT, DOWN);
		PIN_SLP(gpv3-7, INPUT, DOWN);

		PIN_SLP(gpv4-0, INPUT, DOWN);
		PIN_SLP(gpv4-1, INPUT, DOWN);
	};
};

&pmu_system_controller {
	assigned-clocks = <&pmu_system_controller 0>;
	assigned-clock-parents = <&clock CLK_XUSBXTI>;
};

&pwm {
	pinctrl-0 = <&pwm1_out>;
	pinctrl-names = "default";
	samsung,pwm-outputs = <0>, <1>;
	status = "okay";
};

&rtc {
	clocks = <&clock CLK_RTC>, <&max77686 MAX77686_CLK_AP>;
	clock-names = "rtc", "rtc_src";
	status = "okay";
};

&sdhci_2 {
	bus-width = <4>;
	cd-gpios = <&gpx3 4 GPIO_ACTIVE_LOW>;
	pinctrl-0 = <&sd2_clk &sd2_cmd &sd2_bus4 &sdhci2_cd>;
	pinctrl-names = "default";
	vmmc-supply = <&ldo21_reg>;
	status = "okay";
};

&sdhci_3 {
	#address-cells = <1>;
	#size-cells = <0>;
	non-removable;
	bus-width = <4>;
	mmc-pwrseq = <&wlan_pwrseq>;

	pinctrl-names = "default";
	pinctrl-0 = <&sd3_clk &sd3_cmd &sd3_wifi>;
	status = "okay";

	wifi@1 {
		compatible = "brcm,bcm4329-fmac";
		reg = <0x1>;
		pinctrl-names = "default";
		pinctrl-0 = <&wifi_host_wake>;
		interrupt-parent = <&gpx2>;
		interrupts = <5 IRQ_TYPE_LEVEL_HIGH>;
		interrupt-names = "host-wake";
	};
};

&serial_0 {
	pinctrl-0 = <&uart0_data &uart0_fctl>;
	pinctrl-names = "default";
	status = "okay";

	bluetooth {
		compatible = "brcm,bcm4330-bt";
		pinctrl-0 = <&bt_shutdown &bt_device_wakeup &bt_host_wakeup>;
		pinctrl-names = "default";

		max-speed = <2000000>;
		shutdown-gpios = <&gpl0 6 GPIO_ACTIVE_HIGH>;
		device-wakeup-gpios = <&gpx3 1 GPIO_ACTIVE_HIGH>;
		host-wakeup-gpios = <&gpx2 6 GPIO_ACTIVE_HIGH>;
		clocks = <&max77686 MAX77686_CLK_PMIC>;
		clock-names = "lpo";
	};
};

&serial_2 {
	pinctrl-0 = <&uart_sel>;
	pinctrl-names = "default";
	status = "okay";
};

&tmu {
	status = "okay";
};
